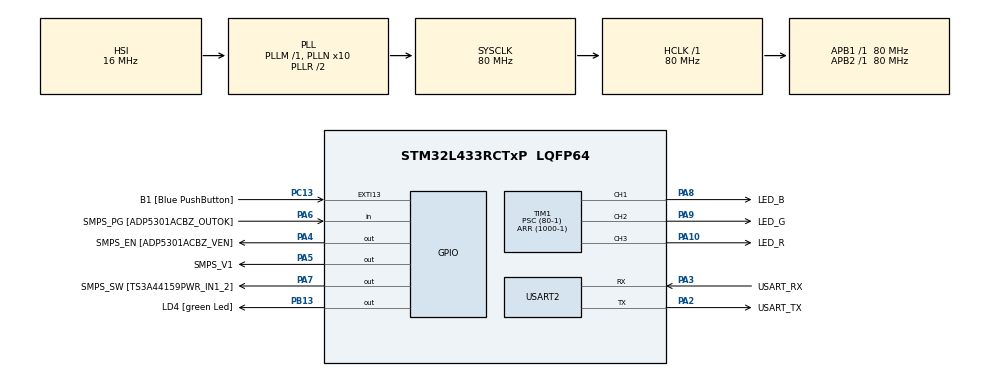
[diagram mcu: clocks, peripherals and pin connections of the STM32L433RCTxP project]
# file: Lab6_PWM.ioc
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Mcu.Family=STM32L4
Mcu.Name=STM32L433RCTxP
Mcu.Package=LQFP64
NVIC.PriorityGroup=NVIC_PRIORITYGROUP_4
NVIC.TIM1_UP_TIM16_IRQn=true\:0\:0\:false\:false\:true\:true\:true\:true
PA10.GPIO_Label=LED_R
PA10.Signal=S_TIM1_CH3
PA13\ (JTMS-SWDIO).GPIO_Label=TMS
PA13\ (JTMS-SWDIO).Mode=Serial_Wire
PA13\ (JTMS-SWDIO).Signal=SYS_JTMS-SWDIO
PA14\ (JTCK-SWCLK).GPIO_Label=TCK
PA14\ (JTCK-SWCLK).Mode=Serial_Wire
PA14\ (JTCK-SWCLK).Signal=SYS_JTCK-SWCLK
PA2.GPIO_Label=USART_TX
PA2.GPIO_Mode=GPIO_MODE_AF_PP
PA2.GPIO_PuPd=GPIO_NOPULL
PA2.GPIO_Speed=GPIO_SPEED_FREQ_VERY_HIGH
PA2.Mode=Asynchronous
PA2.Signal=USART2_TX
PA3.GPIO_Label=USART_RX
PA3.GPIO_Mode=GPIO_MODE_AF_PP
PA3.GPIO_PuPd=GPIO_NOPULL
PA3.GPIO_Speed=GPIO_SPEED_FREQ_VERY_HIGH
PA3.Mode=Asynchronous
PA3.Signal=USART2_RX
PA4.GPIO_Label=SMPS_EN [ADP5301ACBZ_VEN]
PA4.Signal=GPIO_Output
PA5.GPIO_Label=SMPS_V1
PA5.GPIO_ModeDefaultOutputPP=GPIO_MODE_OUTPUT_PP
PA5.GPIO_PuPd=GPIO_NOPULL
PA5.GPIO_Speed=GPIO_SPEED_FREQ_LOW
PA5.Signal=GPIO_Output
PA6.GPIO_Label=SMPS_PG [ADP5301ACBZ_OUTOK]
PA6.GPIO_PuPd=GPIO_PULLUP
PA6.Signal=GPIO_Input
PA7.GPIO_Label=SMPS_SW [TS3A44159PWR_IN1_2]
PA7.Signal=GPIO_Output
PA8.GPIO_Label=LED_B
PA8.Signal=S_TIM1_CH1
PA9.GPIO_Label=LED_G
PA9.Signal=S_TIM1_CH2
PB13.GPIO_Label=LD4 [green Led]
PB13.Signal=GPIO_Output
PB3\ (JTDO-TRACESWO).GPIO_Label=SWO
PB3\ (JTDO-TRACESWO).Signal=SYS_JTDO-SWO
PC13.GPIO_Label=B1 [Blue PushButton]
PC13.GPIO_ModeDefaultEXTI=GPIO_MODE_IT_FALLING
PC13.GPIO_PuPd=GPIO_NOPULL
PC13.Signal=GPXTI13
PC14-OSC32_IN\ (PC14).Mode=LSE-External-Oscillator
PC14-OSC32_IN\ (PC14).Signal=RCC_OSC32_IN
PC15-OSC32_OUT\ (PC15).Mode=LSE-External-Oscillator
PC15-OSC32_OUT\ (PC15).Signal=RCC_OSC32_OUT
PH0-OSC_IN\ (PH0).GPIO_Label=MCO
PH0-OSC_IN\ (PH0).Mode=HSE-External-Clock-Source
PH0-OSC_IN\ (PH0).Signal=RCC_OSC_IN
PH1-OSC_OUT\ (PH1).Signal=RCC_OSC_OUT
ProjectManager.HeapSize=0x200
ProjectManager.StackSize=0x400
ProjectManager.TargetToolchain=STM32CubeIDE
RCC.ADCFreq_Value=64000000
RCC.AHBFreq_Value=80000000
RCC.APB1Freq_Value=80000000
RCC.APB1TimFreq_Value=80000000
RCC.APB2Freq_Value=80000000
RCC.APB2TimFreq_Value=80000000
RCC.CortexFreq_Value=80000000
RCC.HCLKFreq_Value=80000000
RCC.HSE_VALUE=8000000
RCC.HSI48_VALUE=48000000
RCC.HSI_VALUE=16000000
RCC.MSI_VALUE=4000000
RCC.PLLN=10
RCC.PLLSourceVirtual=RCC_PLLSOURCE_HSI
RCC.PREFETCH_ENABLE=1
RCC.SYSCLKFreq_VALUE=80000000
RCC.SYSCLKSource=RCC_SYSCLKSOURCE_PLLCLK
RCC.USBFreq_Value=64000000
RCC.VCOOutputFreq_Value=160000000
SH.S_TIM1_CH1.0=TIM1_CH1,PWM Generation1 CH1
SH.S_TIM1_CH2.0=TIM1_CH2,PWM Generation2 CH2
SH.S_TIM1_CH3.0=TIM1_CH3,PWM Generation3 CH3
TIM1.Channel-PWM\ Generation1\ CH1=TIM_CHANNEL_1
TIM1.Channel-PWM\ Generation2\ CH2=TIM_CHANNEL_2
TIM1.Channel-PWM\ Generation3\ CH3=TIM_CHANNEL_3
TIM1.Period=(1000-1)
TIM1.Prescaler=(80-1)
USART2.VirtualMode-Asynchronous=VM_ASYNC
VP_TIM1_VS_ClockSourceINT.Mode=Internal
board=NUCLEO-L433RC-P

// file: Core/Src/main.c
/* USER CODE BEGIN Header */
/**
  ******************************************************************************
  * @file           : main.c
  * @brief          : Main program body
  ******************************************************************************
  * @attention
  *
  * Copyright (c) 2025 STMicroelectronics.
  * All rights reserved.
  *
  * This software is licensed under terms that can be found in the LICENSE file
  * in the root directory of this software component.
  * If no LICENSE file comes with this software, it is provided AS-IS.
  *
  ******************************************************************************
  */
/* USER CODE END Header */
#include "main.h"

/* USER CODE BEGIN Includes */
#include <math.h>
/* USER CODE END Includes */

/* USER CODE BEGIN PD */
float rf;
float gf;
float bf;
int freq = 1000;
/* USER CODE END PD */

TIM_HandleTypeDef htim1;

UART_HandleTypeDef huart2;

void SystemClock_Config(void);
static void MX_GPIO_Init(void);
static void MX_USART2_UART_Init(void);
static void MX_TIM1_Init(void);

/* USER CODE BEGIN 0 */

void rgb_setting(){
	static float t = 10.0f;
	const float offset = M_TWOPI / 3.0f;
	const float half_arr = freq / 2.0f;

	rf = sinf((M_TWOPI * t * freq) + (0 * offset));
	gf = sinf((M_TWOPI * t * freq) + (1 * offset));
	bf = sinf((M_TWOPI * t * freq) + (2 * offset));
	rf = (rf + 1.0) * half_arr * 1.67f;
	gf = (gf + 1.0) * half_arr;
	bf = (bf + 1.0) * half_arr * 3.33f;

	t += (1.0f / freq);

	if(t > 100)
		t = 10;

	__HAL_TIM_SET_COMPARE(&htim1, TIM_CHANNEL_1, rf);
	__HAL_TIM_SET_COMPARE(&htim1, TIM_CHANNEL_2, gf);
	__HAL_TIM_SET_COMPARE(&htim1, TIM_CHANNEL_3, bf);
}

void HAL_TIM_PeriodElapsedCallback(TIM_HandleTypeDef *htim){
	if(htim->Instance == TIM1){
		rgb_setting();
	}
}

/* USER CODE END 0 */

int main(void)
{

  /* MCU Configuration--------------------------------------------------------*/

  /* Reset of all peripherals, Initializes the Flash interface and the Systick. */
  HAL_Init();

  /* Configure the system clock */
  SystemClock_Config();

  /* Initialize all configured peripherals */
  MX_GPIO_Init();
  MX_USART2_UART_Init();
  MX_TIM1_Init();
  /* USER CODE BEGIN 2 */

  HAL_TIM_PWM_Start(&htim1, TIM_CHANNEL_1);
  HAL_TIM_PWM_Start(&htim1, TIM_CHANNEL_2);
  HAL_TIM_PWM_Start(&htim1, TIM_CHANNEL_3);

  HAL_TIM_Base_Start_IT(&htim1);

  /* USER CODE END 2 */

  /* Infinite loop */
  while (1)
  {

  }
}

void SystemClock_Config(void)
{
  RCC_OscInitTypeDef RCC_OscInitStruct = {0};
  RCC_ClkInitTypeDef RCC_ClkInitStruct = {0};

  /** Configure the main internal regulator output voltage
  */
  if (HAL_PWREx_ControlVoltageScaling(PWR_REGULATOR_VOLTAGE_SCALE1) != HAL_OK)
  {
    Error_Handler();
  }

  /** Initializes the RCC Oscillators according to the specified parameters
  * in the RCC_OscInitTypeDef structure.
  */
  RCC_OscInitStruct.OscillatorType = RCC_OSCILLATORTYPE_HSI;
  RCC_OscInitStruct.HSIState = RCC_HSI_ON;
  RCC_OscInitStruct.HSICalibrationValue = RCC_HSICALIBRATION_DEFAULT;
  RCC_OscInitStruct.PLL.PLLState = RCC_PLL_ON;
  RCC_OscInitStruct.PLL.PLLSource = RCC_PLLSOURCE_HSI;
  RCC_OscInitStruct.PLL.PLLM = 1;
  RCC_OscInitStruct.PLL.PLLN = 10;
  RCC_OscInitStruct.PLL.PLLP = RCC_PLLP_DIV7;
  RCC_OscInitStruct.PLL.PLLQ = RCC_PLLQ_DIV2;
  RCC_OscInitStruct.PLL.PLLR = RCC_PLLR_DIV2;
  if (HAL_RCC_OscConfig(&RCC_OscInitStruct) != HAL_OK)
  {
    Error_Handler();
  }

  /** Initializes the CPU, AHB and APB buses clocks
  */
  RCC_ClkInitStruct.ClockType = RCC_CLOCKTYPE_HCLK|RCC_CLOCKTYPE_SYSCLK
                              |RCC_CLOCKTYPE_PCLK1|RCC_CLOCKTYPE_PCLK2;
  RCC_ClkInitStruct.SYSCLKSource = RCC_SYSCLKSOURCE_PLLCLK;
  RCC_ClkInitStruct.AHBCLKDivider = RCC_SYSCLK_DIV1;
  RCC_ClkInitStruct.APB1CLKDivider = RCC_HCLK_DIV1;
  RCC_ClkInitStruct.APB2CLKDivider = RCC_HCLK_DIV1;

  if (HAL_RCC_ClockConfig(&RCC_ClkInitStruct, FLASH_LATENCY_4) != HAL_OK)
  {
    Error_Handler();
  }
}

static void MX_TIM1_Init(void)
{

  TIM_ClockConfigTypeDef sClockSourceConfig = {0};
  TIM_MasterConfigTypeDef sMasterConfig = {0};
  TIM_OC_InitTypeDef sConfigOC = {0};
  TIM_BreakDeadTimeConfigTypeDef sBreakDeadTimeConfig = {0};

  htim1.Instance = TIM1;
  htim1.Init.Prescaler = (80-1);
  htim1.Init.CounterMode = TIM_COUNTERMODE_UP;
  htim1.Init.Period = (1000-1);
  htim1.Init.ClockDivision = TIM_CLOCKDIVISION_DIV1;
  htim1.Init.RepetitionCounter = 0;
  htim1.Init.AutoReloadPreload = TIM_AUTORELOAD_PRELOAD_DISABLE;
  if (HAL_TIM_Base_Init(&htim1) != HAL_OK)
  {
    Error_Handler();
  }
  sClockSourceConfig.ClockSource = TIM_CLOCKSOURCE_INTERNAL;
  if (HAL_TIM_ConfigClockSource(&htim1, &sClockSourceConfig) != HAL_OK)
  {
    Error_Handler();
  }
  if (HAL_TIM_PWM_Init(&htim1) != HAL_OK)
  {
    Error_Handler();
  }
  sMasterConfig.MasterOutputTrigger = TIM_TRGO_RESET;
  sMasterConfig.MasterOutputTrigger2 = TIM_TRGO2_RESET;
  sMasterConfig.MasterSlaveMode = TIM_MASTERSLAVEMODE_DISABLE;
  if (HAL_TIMEx_MasterConfigSynchronization(&htim1, &sMasterConfig) != HAL_OK)
  {
    Error_Handler();
  }
  sConfigOC.OCMode = TIM_OCMODE_PWM1;
  sConfigOC.Pulse = 0;
  sConfigOC.OCPolarity = TIM_OCPOLARITY_HIGH;
  sConfigOC.OCNPolarity = TIM_OCNPOLARITY_HIGH;
  sConfigOC.OCFastMode = TIM_OCFAST_DISABLE;
  sConfigOC.OCIdleState = TIM_OCIDLESTATE_RESET;
  sConfigOC.OCNIdleState = TIM_OCNIDLESTATE_RESET;
  if (HAL_TIM_PWM_ConfigChannel(&htim1, &sConfigOC, TIM_CHANNEL_1) != HAL_OK)
  {
    Error_Handler();
  }
  if (HAL_TIM_PWM_ConfigChannel(&htim1, &sConfigOC, TIM_CHANNEL_2) != HAL_OK)
  {
    Error_Handler();
  }
  if (HAL_TIM_PWM_ConfigChannel(&htim1, &sConfigOC, TIM_CHANNEL_3) != HAL_OK)
  {
    Error_Handler();
  }
  sBreakDeadTimeConfig.OffStateRunMode = TIM_OSSR_DISABLE;
  sBreakDeadTimeConfig.OffStateIDLEMode = TIM_OSSI_DISABLE;
  sBreakDeadTimeConfig.LockLevel = TIM_LOCKLEVEL_OFF;
  sBreakDeadTimeConfig.DeadTime = 0;
  sBreakDeadTimeConfig.BreakState = TIM_BREAK_DISABLE;
  sBreakDeadTimeConfig.BreakPolarity = TIM_BREAKPOLARITY_HIGH;
  sBreakDeadTimeConfig.BreakFilter = 0;
  sBreakDeadTimeConfig.Break2State = TIM_BREAK2_DISABLE;
  sBreakDeadTimeConfig.Break2Polarity = TIM_BREAK2POLARITY_HIGH;
  sBreakDeadTimeConfig.Break2Filter = 0;
  sBreakDeadTimeConfig.AutomaticOutput = TIM_AUTOMATICOUTPUT_DISABLE;
  if (HAL_TIMEx_ConfigBreakDeadTime(&htim1, &sBreakDeadTimeConfig) != HAL_OK)
  {
    Error_Handler();
  }
  HAL_TIM_MspPostInit(&htim1);

}

static void MX_USART2_UART_Init(void)
{

  huart2.Instance = USART2;
  huart2.Init.BaudRate = 115200;
  huart2.Init.WordLength = UART_WORDLENGTH_8B;
  huart2.Init.StopBits = UART_STOPBITS_1;
  huart2.Init.Parity = UART_PARITY_NONE;
  huart2.Init.Mode = UART_MODE_TX_RX;
  huart2.Init.HwFlowCtl = UART_HWCONTROL_NONE;
  huart2.Init.OverSampling = UART_OVERSAMPLING_16;
  huart2.Init.OneBitSampling = UART_ONE_BIT_SAMPLE_DISABLE;
  huart2.AdvancedInit.AdvFeatureInit = UART_ADVFEATURE_NO_INIT;
  if (HAL_UART_Init(&huart2) != HAL_OK)
  {
    Error_Handler();
  }

}

static void MX_GPIO_Init(void)
{
  GPIO_InitTypeDef GPIO_InitStruct = {0};

  /* GPIO Ports Clock Enable */
  __HAL_RCC_GPIOC_CLK_ENABLE();
  __HAL_RCC_GPIOH_CLK_ENABLE();
  __HAL_RCC_GPIOA_CLK_ENABLE();
  __HAL_RCC_GPIOB_CLK_ENABLE();

  /*Configure GPIO pin Output Level */
  HAL_GPIO_WritePin(GPIOA, SMPS_EN_Pin|SMPS_V1_Pin|SMPS_SW_Pin, GPIO_PIN_RESET);

  /*Configure GPIO pin Output Level */
  HAL_GPIO_WritePin(LD4_GPIO_Port, LD4_Pin, GPIO_PIN_RESET);

  /*Configure GPIO pin : B1_Pin */
  GPIO_InitStruct.Pin = B1_Pin;
  GPIO_InitStruct.Mode = GPIO_MODE_IT_FALLING;
  GPIO_InitStruct.Pull = GPIO_NOPULL;
  HAL_GPIO_Init(B1_GPIO_Port, &GPIO_InitStruct);

  /*Configure GPIO pins : SMPS_EN_Pin SMPS_V1_Pin SMPS_SW_Pin */
  GPIO_InitStruct.Pin = SMPS_EN_Pin|SMPS_V1_Pin|SMPS_SW_Pin;
  GPIO_InitStruct.Mode = GPIO_MODE_OUTPUT_PP;
  GPIO_InitStruct.Pull = GPIO_NOPULL;
  GPIO_InitStruct.Speed = GPIO_SPEED_FREQ_LOW;
  HAL_GPIO_Init(GPIOA, &GPIO_InitStruct);

  /*Configure GPIO pin : SMPS_PG_Pin */
  GPIO_InitStruct.Pin = SMPS_PG_Pin;
  GPIO_InitStruct.Mode = GPIO_MODE_INPUT;
  GPIO_InitStruct.Pull = GPIO_PULLUP;
  HAL_GPIO_Init(SMPS_PG_GPIO_Port, &GPIO_InitStruct);

  /*Configure GPIO pin : LD4_Pin */
  GPIO_InitStruct.Pin = LD4_Pin;
  GPIO_InitStruct.Mode = GPIO_MODE_OUTPUT_PP;
  GPIO_InitStruct.Pull = GPIO_NOPULL;
  GPIO_InitStruct.Speed = GPIO_SPEED_FREQ_LOW;
  HAL_GPIO_Init(LD4_GPIO_Port, &GPIO_InitStruct);

}

void Error_Handler(void)
{
  __disable_irq();
  while (1)
  {
  }
}
